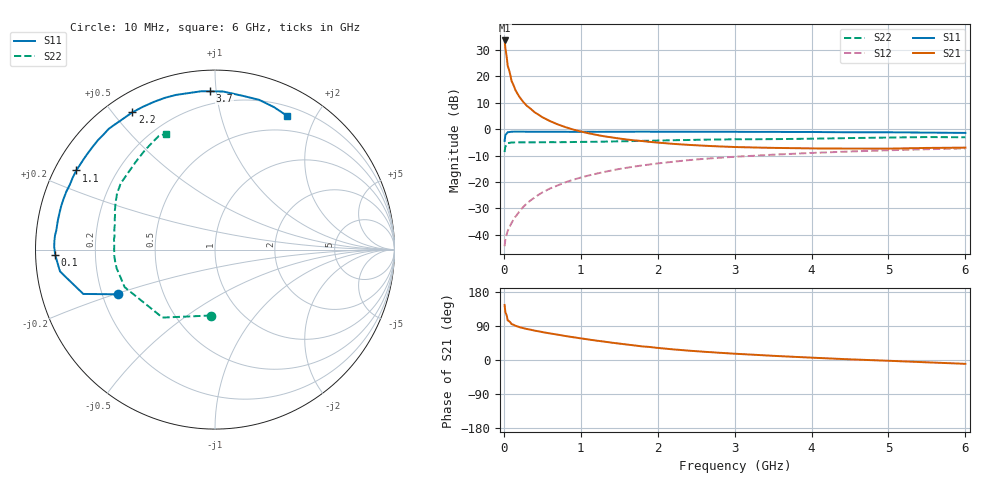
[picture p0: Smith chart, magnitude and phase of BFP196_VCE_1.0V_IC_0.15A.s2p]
! Infineon Technologies  Discrete & RF Semiconductors
! BFP196
! VCE =  1.0 V,  IC = 0.15 A
! Common Emitter S-Parameters:  Jan 2017
# GHz  S  MA  R  50
!  f  S11  S21  S12  S22
! GHz  MAG  ANG  MAG  ANG  MAG  ANG  MAG  ANG
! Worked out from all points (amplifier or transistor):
!   77 points, 10 MHz to 6 GHz, reference 50 ohm
!   highest |S21| = 33.5 dB at 10 MHz (marker M1)
!   |S21| within 3 dB of that: start of sweep to 20.27 MHz
!   unconditionally stable (mu >= 1): start of sweep to 12.53 MHz; 122.6 MHz to end of sweep
!   at 130 MHz: K = 1.01, MAG = 24.5 dB, |S12| = -34.1 dB
!   at 2.2 GHz: K = 1.07, MAG = 1.8 dB, |S12| = -12.4 dB
!   at 6 GHz: K = 1.06, MAG = -1.3 dB, |S12| = -7.3 dB
!   S11 on the Smith chart (normalised r, x): 10 MHz: 0.26, -0.20; 100 MHz: 0.06, -0.02; 1.1 GHz: 0.06, +0.26; 2.2 GHz: 0.07, +0.56; 3.7 GHz: 0.12, +0.96; 6 GHz: 0.31, +1.63
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0.01  0.5961 -155.3  47.45 145.2  0.0061 51.4  0.3679 -93.6
0.02  0.7744 -161.4  33.78 125.7  0.0082 45.9  0.4787 -127.7
0.05  0.8719 -172.0  15.84 104.5  0.0118 44.1  0.5449 -157.4
0.1  0.8907 -178.0  8.151 94.7  0.0167 57.9  0.5582 -169.4
0.15  0.8961 178.9  5.476 90.4  0.0219 62.8  0.5607 -173.9
0.2  0.8962 176.9  4.11 86.9  0.0273 67.3  0.5622 -176.6
0.25  0.8947 174.8  3.289 84.2  0.0335 68.4  0.5613 -178.3
0.3  0.8905 173.1  2.749 81.8  0.0392 69.9  0.562 -179.9
0.4  0.8905 170.0  2.08 77.5  0.0508 71.1  0.5619 177.9
0.5  0.8901 166.9  1.677 73.7  0.0632 70.5  0.5624 176.2
0.6  0.8906 164.2  1.416 70.1  0.0751 69.6  0.5659 174.3
0.8  0.8891 158.7  1.089 63.3  0.0985 68.2  0.5663 171.3
0.9  0.886 155.8  0.981 60.2  0.11 66.5  0.5692 170.0
1.1  0.8899 150.3  0.834 54.2  0.1322 63.7  0.5739 167.2
1.5  0.8906 139.6  0.663 43.3  0.1756 57.1  0.5867 161.9
2.1  0.891 123.7  0.54 30.0  0.2323 46.7  0.611 155.1
2.2  0.8929 121.1  0.525 28.0  0.2408 45.2  0.6158 153.9
3.1  0.8863 102.3  0.454 15.5  0.3047 30.9  0.642 143.8
3.7  0.8821 91.7  0.437 9.1  0.3378 22.8  0.6498 136.1
4.1  0.8785 85.6  0.43 5.3  0.3581 17.7  0.6613 130.8
5.1  0.867 72.4  0.429 -2.8  0.4011 5.6  0.6946 119.4
6  0.8467 61.8  0.446 -10.1  0.4313 -4.3  0.701 112.9
